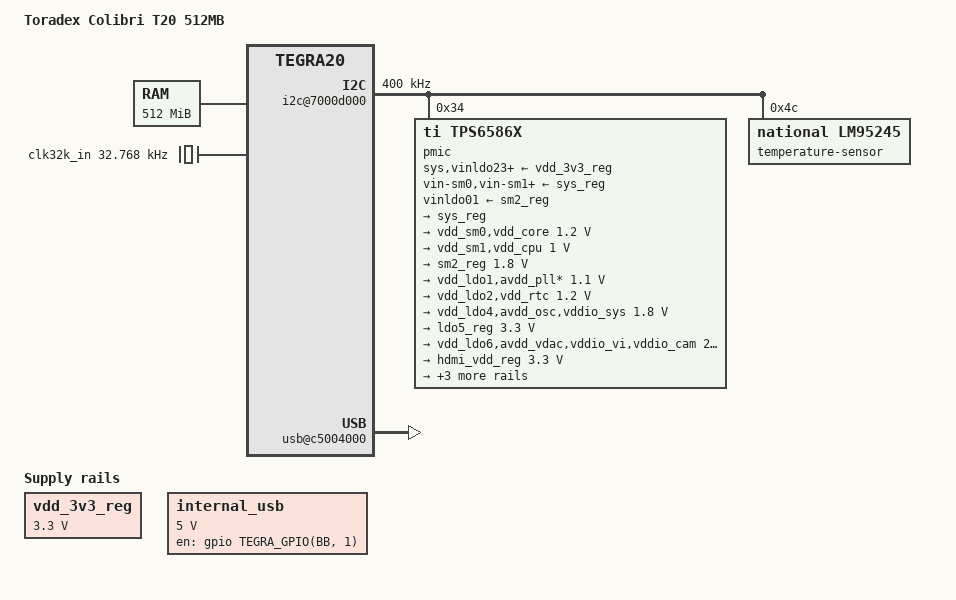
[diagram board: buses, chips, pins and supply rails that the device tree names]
// SPDX-License-Identifier: GPL-2.0
#include "tegra20.dtsi"

/ {
	model = "Toradex Colibri T20 512MB";
	compatible = "toradex,colibri_t20-512", "nvidia,tegra20";

	aliases {
		rtc0 = "/i2c@7000d000/tps6586x@34";
		rtc1 = "/rtc@7000e000";
	};

	memory {
		reg = <0x00000000 0x20000000>;
	};

	host1x@50000000 {
		hdmi@54280000 {
			vdd-supply = <&hdmi_vdd_reg>;
			pll-supply = <&hdmi_pll_reg>;

			nvidia,ddc-i2c-bus = <&i2c_ddc>;
			nvidia,hpd-gpio = <&gpio TEGRA_GPIO(N, 7)
				GPIO_ACTIVE_HIGH>;
		};
	};

	pinmux@70000014 {
		pinctrl-names = "default";
		pinctrl-0 = <&state_default>;

		state_default: pinmux {
			audio_refclk {
				nvidia,pins = "cdev1";
				nvidia,function = "plla_out";
				nvidia,pull = <TEGRA_PIN_PULL_NONE>;
				nvidia,tristate = <TEGRA_PIN_DISABLE>;
			};
			crt {
				nvidia,pins = "crtp";
				nvidia,function = "crt";
				nvidia,pull = <TEGRA_PIN_PULL_NONE>;
				nvidia,tristate = <TEGRA_PIN_ENABLE>;
			};
			dap3 {
				nvidia,pins = "dap3";
				nvidia,function = "dap3";
				nvidia,pull = <TEGRA_PIN_PULL_NONE>;
				nvidia,tristate = <TEGRA_PIN_DISABLE>;
			};
			displaya {
				nvidia,pins = "ld0", "ld1", "ld2", "ld3",
					"ld4", "ld5", "ld6", "ld7", "ld8",
					"ld9", "ld10", "ld11", "ld12", "ld13",
					"ld14", "ld15", "ld16", "ld17",
					"lhs", "lpw0", "lpw2", "lsc0",
					"lsc1", "lsck", "lsda", "lspi", "lvs";
				nvidia,function = "displaya";
				nvidia,tristate = <TEGRA_PIN_ENABLE>;
			};
			gpio_dte {
				nvidia,pins = "dte";
				nvidia,function = "rsvd1";
				nvidia,pull = <TEGRA_PIN_PULL_NONE>;
				nvidia,tristate = <TEGRA_PIN_DISABLE>;
			};
			gpio_gmi {
				nvidia,pins = "ata", "atc", "atd", "ate",
					"dap1", "dap2", "dap4", "gpu", "irrx",
					"irtx", "spia", "spib", "spic";
				nvidia,function = "gmi";
				nvidia,pull = <TEGRA_PIN_PULL_NONE>;
				nvidia,tristate = <TEGRA_PIN_DISABLE>;
			};
			gpio_pta {
				nvidia,pins = "pta";
				nvidia,function = "rsvd4";
				nvidia,pull = <TEGRA_PIN_PULL_NONE>;
				nvidia,tristate = <TEGRA_PIN_DISABLE>;
			};
			gpio_uac {
				nvidia,pins = "uac";
				nvidia,function = "rsvd2";
				nvidia,pull = <TEGRA_PIN_PULL_NONE>;
				nvidia,tristate = <TEGRA_PIN_DISABLE>;
			};
			hdint {
				nvidia,pins = "hdint";
				nvidia,function = "hdmi";
				nvidia,tristate = <TEGRA_PIN_ENABLE>;
			};
			i2c1 {
				nvidia,pins = "rm";
				nvidia,function = "i2c1";
				nvidia,pull = <TEGRA_PIN_PULL_NONE>;
				nvidia,tristate = <TEGRA_PIN_ENABLE>;
			};
			i2c3 {
				nvidia,pins = "dtf";
				nvidia,function = "i2c3";
				nvidia,pull = <TEGRA_PIN_PULL_NONE>;
				nvidia,tristate = <TEGRA_PIN_ENABLE>;
			};
			i2cddc {
				nvidia,pins = "ddc";
				nvidia,function = "i2c2";
				nvidia,pull = <TEGRA_PIN_PULL_UP>;
				nvidia,tristate = <TEGRA_PIN_ENABLE>;
			};
			i2cp {
				nvidia,pins = "i2cp";
				nvidia,function = "i2cp";
				nvidia,pull = <TEGRA_PIN_PULL_NONE>;
				nvidia,tristate = <TEGRA_PIN_DISABLE>;
			};
			irda {
				nvidia,pins = "uad";
				nvidia,function = "irda";
				nvidia,pull = <TEGRA_PIN_PULL_NONE>;
				nvidia,tristate = <TEGRA_PIN_ENABLE>;
			};
			nand {
				nvidia,pins = "kbca", "kbcc", "kbcd",
					"kbce", "kbcf";
				nvidia,function = "nand";
				nvidia,pull = <TEGRA_PIN_PULL_NONE>;
				nvidia,tristate = <TEGRA_PIN_DISABLE>;
			};
			owc {
				nvidia,pins = "owc";
				nvidia,function = "owr";
				nvidia,pull = <TEGRA_PIN_PULL_NONE>;
				nvidia,tristate = <TEGRA_PIN_ENABLE>;
			};
			pmc {
				nvidia,pins = "pmc";
				nvidia,function = "pwr_on";
				nvidia,tristate = <TEGRA_PIN_DISABLE>;
			};
			pwm {
				nvidia,pins = "sdb", "sdc", "sdd";
				nvidia,function = "pwm";
				nvidia,tristate = <TEGRA_PIN_ENABLE>;
			};
			sdio4 {
				nvidia,pins = "atb", "gma", "gme";
				nvidia,function = "sdio4";
				nvidia,pull = <TEGRA_PIN_PULL_NONE>;
				nvidia,tristate = <TEGRA_PIN_ENABLE>;
			};
			spi1 {
				nvidia,pins = "spid", "spie", "spif";
				nvidia,function = "spi1";
				nvidia,pull = <TEGRA_PIN_PULL_NONE>;
				nvidia,tristate = <TEGRA_PIN_ENABLE>;
			};
			spi4 {
				nvidia,pins = "slxa", "slxc", "slxd", "slxk";
				nvidia,function = "spi4";
				nvidia,pull = <TEGRA_PIN_PULL_NONE>;
				nvidia,tristate = <TEGRA_PIN_ENABLE>;
			};
			uarta {
				nvidia,pins = "sdio1";
				nvidia,function = "uarta";
				nvidia,pull = <TEGRA_PIN_PULL_NONE>;
				nvidia,tristate = <TEGRA_PIN_ENABLE>;
			};
			uartd {
				nvidia,pins = "gmc";
				nvidia,function = "uartd";
				nvidia,pull = <TEGRA_PIN_PULL_NONE>;
				nvidia,tristate = <TEGRA_PIN_ENABLE>;
			};
			ulpi {
				nvidia,pins = "uaa", "uab", "uda";
				nvidia,function = "ulpi";
				nvidia,pull = <TEGRA_PIN_PULL_NONE>;
				nvidia,tristate = <TEGRA_PIN_DISABLE>;
			};
			ulpi_refclk {
				nvidia,pins = "cdev2";
				nvidia,function = "pllp_out4";
				nvidia,pull = <TEGRA_PIN_PULL_NONE>;
				nvidia,tristate = <TEGRA_PIN_DISABLE>;
			};
			usb_gpio {
				nvidia,pins = "spig", "spih";
				nvidia,function = "spi2_alt";
				nvidia,pull = <TEGRA_PIN_PULL_NONE>;
				nvidia,tristate = <TEGRA_PIN_DISABLE>;
			};
			vi {
				nvidia,pins = "dta", "dtb", "dtc", "dtd";
				nvidia,function = "vi";
				nvidia,pull = <TEGRA_PIN_PULL_NONE>;
				nvidia,tristate = <TEGRA_PIN_ENABLE>;
			};
			vi_sc {
				nvidia,pins = "csus";
				nvidia,function = "vi_sensor_clk";
				nvidia,pull = <TEGRA_PIN_PULL_NONE>;
				nvidia,tristate = <TEGRA_PIN_ENABLE>;
			};
		};
	};

	ac97: ac97@70002000 {
		status = "okay";
		nvidia,codec-reset-gpio = <&gpio TEGRA_GPIO(V, 0)
			GPIO_ACTIVE_HIGH>;
		nvidia,codec-sync-gpio = <&gpio TEGRA_GPIO(P, 0)
			GPIO_ACTIVE_HIGH>;
	};

	i2c@7000c000 {
		clock-frequency = <400000>;
	};

	i2c_ddc: i2c@7000c400 {
		clock-frequency = <100000>;
	};

	i2c@7000c500 {
		clock-frequency = <400000>;
	};

	i2c@7000d000 {
		status = "okay";
		clock-frequency = <400000>;

		pmic: tps6586x@34 {
			compatible = "ti,tps6586x";
			reg = <0x34>;
			interrupts = <GIC_SPI 86 IRQ_TYPE_LEVEL_HIGH>;

			ti,system-power-controller;

			#gpio-cells = <2>;
			gpio-controller;

			sys-supply = <&vdd_3v3_reg>;
			vin-sm0-supply = <&sys_reg>;
			vin-sm1-supply = <&sys_reg>;
			vin-sm2-supply = <&sys_reg>;
			vinldo01-supply = <&sm2_reg>;
			vinldo23-supply = <&vdd_3v3_reg>;
			vinldo4-supply = <&vdd_3v3_reg>;
			vinldo678-supply = <&vdd_3v3_reg>;
			vinldo9-supply = <&vdd_3v3_reg>;

			regulators {
				#address-cells = <1>;
				#size-cells = <0>;

				sys_reg: regulator@0 {
					reg = <0>;
					regulator-compatible = "sys";
					regulator-name = "vdd_sys";
					regulator-always-on;
				};

				regulator@1 {
					reg = <1>;
					regulator-compatible = "sm0";
					regulator-name = "vdd_sm0,vdd_core";
					regulator-min-microvolt = <1200000>;
					regulator-max-microvolt = <1200000>;
					regulator-always-on;
				};

				regulator@2 {
					reg = <2>;
					regulator-compatible = "sm1";
					regulator-name = "vdd_sm1,vdd_cpu";
					regulator-min-microvolt = <1000000>;
					regulator-max-microvolt = <1000000>;
					regulator-always-on;
				};

				sm2_reg: regulator@3 {
					reg = <3>;
					regulator-compatible = "sm2";
					regulator-name = "vdd_sm2,vin_ldo*";
					regulator-min-microvolt = <1800000>;
					regulator-max-microvolt = <1800000>;
					regulator-always-on;
				};

				/* LDO0 is not connected to anything */

				regulator@5 {
					reg = <5>;
					regulator-compatible = "ldo1";
					regulator-name = "vdd_ldo1,avdd_pll*";
					regulator-min-microvolt = <1100000>;
					regulator-max-microvolt = <1100000>;
					regulator-always-on;
				};

				regulator@6 {
					reg = <6>;
					regulator-compatible = "ldo2";
					regulator-name = "vdd_ldo2,vdd_rtc";
					regulator-min-microvolt = <1200000>;
					regulator-max-microvolt = <1200000>;
				};

				/* LDO3 is not connected to anything */

				regulator@8 {
					reg = <8>;
					regulator-compatible = "ldo4";
					regulator-name = "vdd_ldo4,avdd_osc,vddio_sys";
					regulator-min-microvolt = <1800000>;
					regulator-max-microvolt = <1800000>;
					regulator-always-on;
				};

				ldo5_reg: regulator@9 {
					reg = <9>;
					regulator-compatible = "ldo5";
					regulator-name = "vdd_ldo5,vdd_fuse";
					regulator-min-microvolt = <3300000>;
					regulator-max-microvolt = <3300000>;
					regulator-always-on;
				};

				regulator@10 {
					reg = <10>;
					regulator-compatible = "ldo6";
					regulator-name = "vdd_ldo6,avdd_vdac,vddio_vi,vddio_cam";
					regulator-min-microvolt = <2850000>;
					regulator-max-microvolt = <2850000>;
				};

				hdmi_vdd_reg: regulator@11 {
					reg = <11>;
					regulator-compatible = "ldo7";
					regulator-name = "vdd_ldo7,avdd_hdmi";
					regulator-min-microvolt = <3300000>;
					regulator-max-microvolt = <3300000>;
				};

				hdmi_pll_reg: regulator@12 {
					reg = <12>;
					regulator-compatible = "ldo8";
					regulator-name = "vdd_ldo8,avdd_hdmi_pll";
					regulator-min-microvolt = <1800000>;
					regulator-max-microvolt = <1800000>;
				};

				regulator@13 {
					reg = <13>;
					regulator-compatible = "ldo9";
					regulator-name = "vdd_ldo9,avdd_2v85,vdd_ddr_rx";
					regulator-min-microvolt = <2850000>;
					regulator-max-microvolt = <2850000>;
					regulator-always-on;
				};

				regulator@14 {
					reg = <14>;
					regulator-compatible = "ldo_rtc";
					regulator-name = "vdd_rtc_out,vdd_cell";
					regulator-min-microvolt = <3300000>;
					regulator-max-microvolt = <3300000>;
					regulator-always-on;
				};
			};
		};

		temperature-sensor@4c {
			compatible = "national,lm95245";
			reg = <0x4c>;
		};
	};

	pmc@7000e400 {
		nvidia,suspend-mode = <1>;
		nvidia,cpu-pwr-good-time = <5000>;
		nvidia,cpu-pwr-off-time = <5000>;
		nvidia,core-pwr-good-time = <3845 3845>;
		nvidia,core-pwr-off-time = <3875>;
		nvidia,sys-clock-req-active-high;
	};

	memory-controller@7000f400 {
		emc-table@83250 {
			reg = <83250>;
			compatible = "nvidia,tegra20-emc-table";
			clock-frequency = <83250>;
			nvidia,emc-registers =   <0x00000005 0x00000011
				0x00000004 0x00000002 0x00000004 0x00000004
				0x00000001 0x0000000a 0x00000002 0x00000002
				0x00000001 0x00000001 0x00000003 0x00000004
				0x00000003 0x00000009 0x0000000c 0x0000025f
				0x00000000 0x00000003 0x00000003 0x00000002
				0x00000002 0x00000001 0x00000008 0x000000c8
				0x00000003 0x00000005 0x00000003 0x0000000c
				0x00000002 0x00000000 0x00000000 0x00000002
				0x00000000 0x00000000 0x00000083 0x00520006
				0x00000010 0x00000008 0x00000000 0x00000000
				0x00000000 0x00000000 0x00000000 0x00000000>;
		};
		emc-table@133200 {
			reg = <133200>;
			compatible = "nvidia,tegra20-emc-table";
			clock-frequency = <133200>;
			nvidia,emc-registers =   <0x00000008 0x00000019
				0x00000006 0x00000002 0x00000004 0x00000004
				0x00000001 0x0000000a 0x00000002 0x00000002
				0x00000002 0x00000001 0x00000003 0x00000004
				0x00000003 0x00000009 0x0000000c 0x0000039f
				0x00000000 0x00000003 0x00000003 0x00000002
				0x00000002 0x00000001 0x00000008 0x000000c8
				0x00000003 0x00000007 0x00000003 0x0000000c
				0x00000002 0x00000000 0x00000000 0x00000002
				0x00000000 0x00000000 0x00000083 0x00510006
				0x00000010 0x00000008 0x00000000 0x00000000
				0x00000000 0x00000000 0x00000000 0x00000000>;
		};
		emc-table@166500 {
			reg = <166500>;
			compatible = "nvidia,tegra20-emc-table";
			clock-frequency = <166500>;
			nvidia,emc-registers =   <0x0000000a 0x00000021
				0x00000008 0x00000003 0x00000004 0x00000004
				0x00000002 0x0000000a 0x00000003 0x00000003
				0x00000002 0x00000001 0x00000003 0x00000004
				0x00000003 0x00000009 0x0000000c 0x000004df
				0x00000000 0x00000003 0x00000003 0x00000003
				0x00000003 0x00000001 0x00000009 0x000000c8
				0x00000003 0x00000009 0x00000004 0x0000000c
				0x00000002 0x00000000 0x00000000 0x00000002
				0x00000000 0x00000000 0x00000083 0x004f0006
				0x00000010 0x00000008 0x00000000 0x00000000
				0x00000000 0x00000000 0x00000000 0x00000000>;
		};
		emc-table@333000 {
			reg = <333000>;
			compatible = "nvidia,tegra20-emc-table";
			clock-frequency = <333000>;
			nvidia,emc-registers =   <0x00000014 0x00000041
				0x0000000f 0x00000005 0x00000004 0x00000005
				0x00000003 0x0000000a 0x00000005 0x00000005
				0x00000004 0x00000001 0x00000003 0x00000004
				0x00000003 0x00000009 0x0000000c 0x000009ff
				0x00000000 0x00000003 0x00000003 0x00000005
				0x00000005 0x00000001 0x0000000e 0x000000c8
				0x00000003 0x00000011 0x00000006 0x0000000c
				0x00000002 0x00000000 0x00000000 0x00000002
				0x00000000 0x00000000 0x00000083 0x00380006
				0x00000010 0x00000008 0x00000000 0x00000000
				0x00000000 0x00000000 0x00000000 0x00000000>;
		};
	};

	usb@c5004000 {
		status = "okay";
		nvidia,phy-reset-gpio = <&gpio TEGRA_GPIO(V, 1)
			GPIO_ACTIVE_LOW>;
	};

	usb-phy@c5004000 {
		status = "okay";
		nvidia,phy-reset-gpio = <&gpio TEGRA_GPIO(V, 1)
			GPIO_ACTIVE_LOW>;
	};

	sdhci@c8000600 {
		cd-gpios = <&gpio TEGRA_GPIO(C, 7) GPIO_ACTIVE_LOW>;
	};

	clocks {
		compatible = "simple-bus";
		#address-cells = <1>;
		#size-cells = <0>;

		clk32k_in: clock@0 {
			compatible = "fixed-clock";
			reg = <0>;
			#clock-cells = <0>;
			clock-frequency = <32768>;
		};
	};

	regulators {
		compatible = "simple-bus";
		#address-cells = <1>;
		#size-cells = <0>;

		vdd_3v3_reg: regulator@100 {
			compatible = "regulator-fixed";
			reg = <100>;
			regulator-name = "vdd_3v3";
			regulator-min-microvolt = <3300000>;
			regulator-max-microvolt = <3300000>;
			regulator-always-on;
		};

		regulator@101 {
			compatible = "regulator-fixed";
			reg = <101>;
			regulator-name = "internal_usb";
			regulator-min-microvolt = <5000000>;
			regulator-max-microvolt = <5000000>;
			enable-active-high;
			regulator-boot-on;
			regulator-always-on;
			gpio = <&gpio TEGRA_GPIO(BB, 1) GPIO_ACTIVE_HIGH>;
		};
	};

	sound {
		compatible = "nvidia,tegra-audio-wm9712-colibri_t20",
			         "nvidia,tegra-audio-wm9712";
		nvidia,model = "Colibri T20 AC97 Audio";

		nvidia,audio-routing =
			"Headphone", "HPOUTL",
			"Headphone", "HPOUTR",
			"LineIn", "LINEINL",
			"LineIn", "LINEINR",
			"Mic", "MIC1";

		nvidia,ac97-controller = <&ac97>;

		clocks = <&tegra_car TEGRA20_CLK_PLL_A>,
			 <&tegra_car TEGRA20_CLK_PLL_A_OUT0>,
			 <&tegra_car TEGRA20_CLK_CDEV1>;
		clock-names = "pll_a", "pll_a_out0", "mclk";
	};
};
